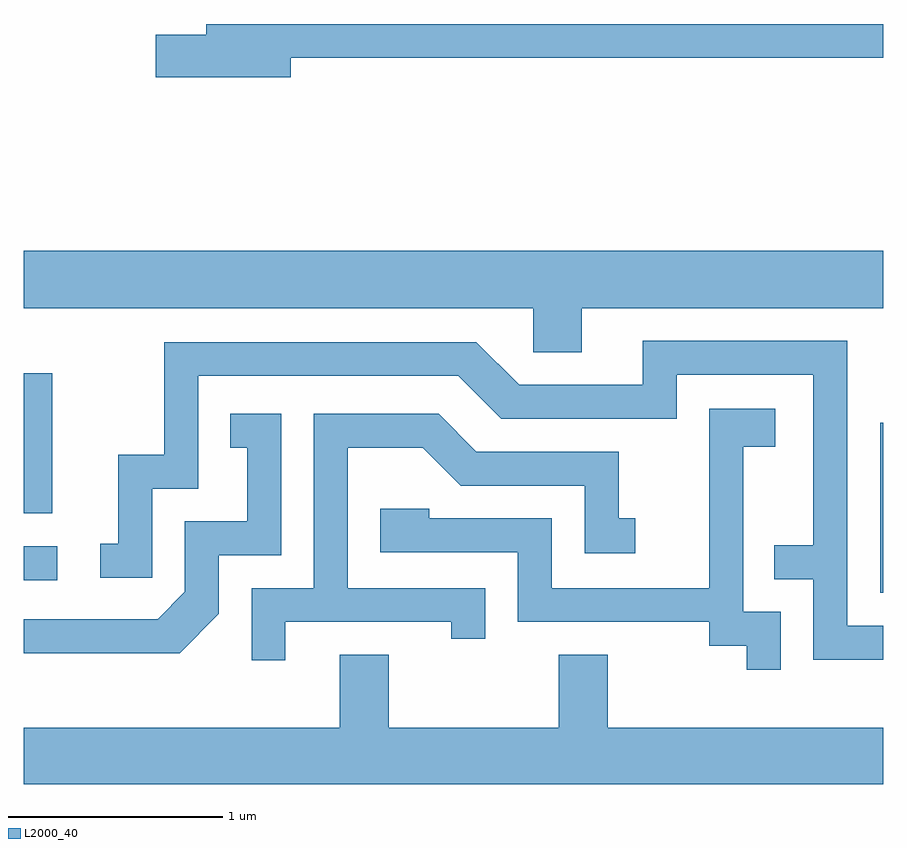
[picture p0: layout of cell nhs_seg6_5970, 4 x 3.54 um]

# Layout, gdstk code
import gdstk
lib = gdstk.Library(unit=1e-6, precision=1e-09)
def R(c, l, rs):  # rectangles x0, y0, x1, y1
    for r in rs: c.add(gdstk.rectangle(r[:2], r[2:], *l))
def P(c, l, *ps):  # polygons
    for p in ps: c.add(gdstk.Polygon(p, *l))
L2000_40 = (2000, 40)

nhs_seg6_5970 = lib.new_cell('nhs_seg6_5970')
R(nhs_seg6_5970, L2000_40, [(369.596,1653.051,369.611,1653.844), (365.611,1653.111,365.768,1653.269), (365.611,1653.421,365.744,1654.074)])
P(nhs_seg6_5970, L2000_40, [(366.854,1655.541),(369.611,1655.541),(369.611,1655.699),(366.461,1655.699),(366.461,1655.649),(366.226,1655.649),(366.226,1655.451),(366.854,1655.451)],
  [(368.209,1654.376),(369.611,1654.376),(369.611,1654.644),(365.611,1654.644),(365.611,1654.376),(367.981,1654.376),(367.981,1654.171),(368.209,1654.171)],
  [(369.611,1652.899),(369.444,1652.899),(369.444,1654.224),(368.491,1654.224),(368.491,1654.019),(367.917,1654.019),(367.717,1654.219),(366.266,1654.219),(366.266,1653.694),(366.051,1653.694),(366.051,1653.279),(365.968,1653.279),(365.968,1653.121),(366.209,1653.121),(366.209,1653.536),(366.424,1653.536),(366.424,1654.061),(367.634,1654.061),(367.834,1653.861),(368.649,1653.861),(368.649,1654.066),(369.286,1654.066),(369.286,1653.274),(369.103,1653.274),(369.103,1653.116),(369.286,1653.116),(369.286,1652.741),(369.611,1652.741)],
  [(369.134,1652.964),(368.959,1652.964),(368.959,1653.731),(369.109,1653.731),(369.109,1653.909),(368.801,1653.909),(368.801,1653.074),(368.069,1653.074),(368.069,1653.399),(367.499,1653.399),(367.499,1653.444),(367.271,1653.444),(367.271,1653.241),(367.911,1653.241),(367.911,1652.916),(368.801,1652.916),(368.801,1652.806),(368.976,1652.806),(368.976,1652.693),(369.134,1652.693)],
  [(366.829,1652.916),(367.601,1652.916),(367.601,1652.838),(367.759,1652.838),(367.759,1653.074),(367.119,1653.074),(367.119,1653.726),(367.469,1653.726),(367.644,1653.551),(368.221,1653.551),(368.221,1653.236),(368.458,1653.236),(368.458,1653.399),(368.379,1653.399),(368.379,1653.709),(367.717,1653.709),(367.542,1653.884),(366.961,1653.884),(366.961,1653.074),(366.671,1653.074),(366.671,1652.738),(366.829,1652.738)],
  [(366.519,1652.954),(366.519,1653.226),(366.809,1653.226),(366.809,1653.884),(366.573,1653.884),(366.573,1653.726),(366.651,1653.726),(366.651,1653.384),(366.361,1653.384),(366.361,1653.057),(366.234,1652.929),(365.611,1652.929),(365.611,1652.771),(366.337,1652.771)],
  [(369.611,1652.424),(368.329,1652.424),(368.329,1652.764),(368.101,1652.764),(368.101,1652.424),(367.309,1652.424),(367.309,1652.764),(367.081,1652.764),(367.081,1652.424),(365.611,1652.424),(365.611,1652.162),(369.611,1652.162)])

lib.write_gds('nhs_seg6_5970.gds')
